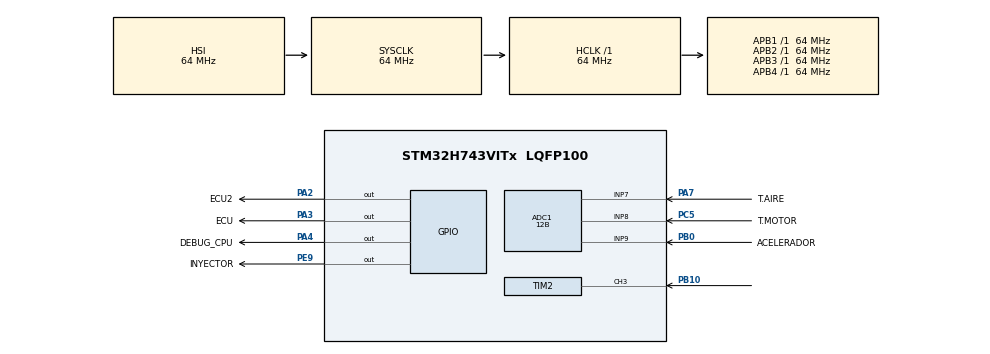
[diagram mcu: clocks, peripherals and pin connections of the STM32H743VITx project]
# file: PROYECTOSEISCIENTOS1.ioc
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ADC1.Channel-0\#ChannelRegularConversion=ADC_CHANNEL_7
ADC1.Channel-1\#ChannelRegularConversion=ADC_CHANNEL_8
ADC1.Channel-2\#ChannelRegularConversion=ADC_CHANNEL_9
ADC1.ContinuousConvMode=ENABLE
ADC1.ConversionDataManagement=ADC_CONVERSIONDATA_DMA_CIRCULAR
ADC1.NbrOfConversion=3
ADC1.NbrOfConversionFlag=1
ADC1.OffsetNumber-0\#ChannelRegularConversion=ADC_OFFSET_NONE
ADC1.OffsetNumber-1\#ChannelRegularConversion=ADC_OFFSET_NONE
ADC1.OffsetNumber-2\#ChannelRegularConversion=ADC_OFFSET_NONE
ADC1.OffsetSignedSaturation-0\#ChannelRegularConversion=DISABLE
ADC1.Rank-0\#ChannelRegularConversion=1
ADC1.Rank-1\#ChannelRegularConversion=2
ADC1.Rank-2\#ChannelRegularConversion=3
ADC1.Resolution=ADC_RESOLUTION_12B
ADC1.SamplingTime-0\#ChannelRegularConversion=ADC_SAMPLETIME_64CYCLES_5
ADC1.SamplingTime-1\#ChannelRegularConversion=ADC_SAMPLETIME_64CYCLES_5
ADC1.SamplingTime-2\#ChannelRegularConversion=ADC_SAMPLETIME_64CYCLES_5
ADC1.master=1
CORTEX_M7.default_mode_Activation=1
Dma.ADC1.0.Direction=DMA_PERIPH_TO_MEMORY
Dma.ADC1.0.EventEnable=DISABLE
Dma.ADC1.0.FIFOMode=DMA_FIFOMODE_DISABLE
Dma.ADC1.0.Instance=DMA1_Stream0
Dma.ADC1.0.MemDataAlignment=DMA_MDATAALIGN_HALFWORD
Dma.ADC1.0.MemInc=DMA_MINC_ENABLE
Dma.ADC1.0.Mode=DMA_CIRCULAR
Dma.ADC1.0.PeriphDataAlignment=DMA_PDATAALIGN_HALFWORD
Dma.ADC1.0.PeriphInc=DMA_PINC_DISABLE
Dma.ADC1.0.Polarity=HAL_DMAMUX_REQ_GEN_RISING
Dma.ADC1.0.Priority=DMA_PRIORITY_HIGH
Dma.ADC1.0.RequestNumber=1
Dma.ADC1.0.SignalID=NONE
Dma.ADC1.0.SyncEnable=DISABLE
Dma.ADC1.0.SyncPolarity=HAL_DMAMUX_SYNC_NO_EVENT
Dma.ADC1.0.SyncRequestNumber=1
Dma.ADC1.0.SyncSignalID=NONE
Dma.Request0=ADC1
Mcu.Family=STM32H7
Mcu.Name=STM32H743VITx
Mcu.Package=LQFP100
NVIC.DMA1_Stream0_IRQn=true\:0\:0\:false\:false\:true\:false\:true\:true
NVIC.PriorityGroup=NVIC_PRIORITYGROUP_4
NVIC.TIM2_IRQn=true\:0\:0\:false\:false\:true\:true\:true\:true
NVIC.TIM6_DAC_IRQn=true\:0\:0\:false\:false\:true\:true\:true\:true
PA0.GPIO_Label=ENTRADA RPM
PA0.Signal=S_TIM2_CH1_ETR
PA2.GPIO_Label=ECU2
PA2.Signal=GPIO_Output
PA3.GPIO_Label=ECU
PA3.Signal=GPIO_Output
PA4.GPIO_Label=DEBUG_CPU
PA4.Signal=GPIO_Output
PA7.GPIO_Label=T.AIRE
PA7.Signal=ADCx_INP7
PB0.GPIO_Label=ACELERADOR
PB0.Signal=ADCx_INP9
PB10.Signal=S_TIM2_CH3
PC14-OSC32_IN\ (OSC32_IN).Mode=LSE-External-Oscillator
PC14-OSC32_IN\ (OSC32_IN).Signal=RCC_OSC32_IN
PC15-OSC32_OUT\ (OSC32_OUT).Mode=LSE-External-Oscillator
PC15-OSC32_OUT\ (OSC32_OUT).Signal=RCC_OSC32_OUT
PC5.GPIO_Label=T.MOTOR
PC5.Signal=ADCx_INP8
PE9.GPIO_Label=INYECTOR
PE9.Signal=GPIO_Output
PH0-OSC_IN\ (PH0).Mode=HSE-External-Oscillator
PH0-OSC_IN\ (PH0).Signal=RCC_OSC_IN
PH1-OSC_OUT\ (PH1).Mode=HSE-External-Oscillator
PH1-OSC_OUT\ (PH1).Signal=RCC_OSC_OUT
ProjectManager.HeapSize=0x200
ProjectManager.StackSize=0x400
ProjectManager.TargetToolchain=STM32CubeIDE
RCC.ADCFreq_Value=80000000
RCC.APB1Freq_Value=64000000
RCC.APB2Freq_Value=64000000
RCC.APB3Freq_Value=64000000
RCC.APB4Freq_Value=64000000
RCC.CortexFreq_Value=64000000
RCC.DIVM2=4
RCC.DIVN2=10
RCC.HCLKFreq_Value=64000000
RCC.PLL2FRACN=0
RCC.SYSCLKFreq_VALUE=64000000
RCC.USBFreq_Value=129000000
SH.ADCx_INP7.0=ADC1_INP7,IN7-Single-Ended
SH.ADCx_INP8.0=ADC1_INP8,IN8-Single-Ended
SH.ADCx_INP9.0=ADC1_INP9,IN9-Single-Ended
SH.S_TIM2_CH1_ETR.0=TIM2_CH1
SH.S_TIM2_CH3.0=TIM2_CH3,Input_Capture3_from_TI3
TIM2.Channel-Input_Capture3_from_TI3=TIM_CHANNEL_3
TIM2.Period=0xFFFFFFFF
TIM2.Prescaler=63
TIM6.Period=99
TIM6.Prescaler=6399
VP_MEMORYMAP_VS_MEMORYMAP.Mode=CurAppReg
VP_TIM2_VS_ClockSourceINT.Mode=Internal
VP_TIM6_VS_ClockSourceINT.Mode=Enable_Timer
board=custom

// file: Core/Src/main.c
/* USER CODE BEGIN Header */
/**
  ******************************************************************************
  * @file           : main.c
  * @brief          : Main program body
  ******************************************************************************
  * @attention
  *
  * Copyright (c) 2026 STMicroelectronics.
  * All rights reserved.
  *
  * This software is licensed under terms that can be found in the LICENSE file
  * in the root directory of this software component.
  * If no LICENSE file comes with this software, it is provided AS-IS.
  *
  ******************************************************************************
  */
/* USER CODE END Header */
#include "main.h"

/* USER CODE BEGIN Includes */
#include "ecu/ecu.h"
#include "control/rpm.h"
/* USER CODE END Includes */

ADC_HandleTypeDef hadc1;
DMA_HandleTypeDef hdma_adc1;

TIM_HandleTypeDef htim2;
TIM_HandleTypeDef htim6;

/* USER CODE BEGIN PV */
extern volatile float dbg_temp_engine;
extern volatile float dbg_temp_air;
extern volatile uint16_t dbg_throttle;
extern volatile uint32_t dbg_rpm;
extern volatile uint16_t dbg_throttle_percent;
volatile uint16_t tiempo_base_pw = 0;

/* USER CODE END PV */

void SystemClock_Config(void);
static void MPU_Config(void);
static void MX_GPIO_Init(void);
static void MX_DMA_Init(void);
static void MX_ADC1_Init(void);
static void MX_TIM6_Init(void);
static void MX_TIM2_Init(void);

int main(void)
{

  /* MPU Configuration--------------------------------------------------------*/
  MPU_Config();

  /* MCU Configuration--------------------------------------------------------*/

  /* Reset of all peripherals, Initializes the Flash interface and the Systick. */
  HAL_Init();

  /* Configure the system clock */
  SystemClock_Config();

  /* Initialize all configured peripherals */
  MX_GPIO_Init();
  MX_DMA_Init();
  MX_ADC1_Init();
  MX_TIM6_Init();
  MX_TIM2_Init();
  /* USER CODE BEGIN 2 */
  ecu_init();
  HAL_TIM_Base_Start_IT(&htim6);
  HAL_TIM_IC_Start_IT(&htim2, TIM_CHANNEL_3);
  /* USER CODE END 2 */

  /* Infinite loop */
  while (1)
  {

    /* USER CODE BEGIN 3 */
	  if(ecu_tick)
	  {
	      ecu_tick = 0;
	      ecu_loop();
	  }

  }
  /* USER CODE END 3 */
}

void SystemClock_Config(void)
{
  RCC_OscInitTypeDef RCC_OscInitStruct = {0};
  RCC_ClkInitTypeDef RCC_ClkInitStruct = {0};

  /** Supply configuration update enable
  */
  HAL_PWREx_ConfigSupply(PWR_LDO_SUPPLY);

  /** Configure the main internal regulator output voltage
  */
  __HAL_PWR_VOLTAGESCALING_CONFIG(PWR_REGULATOR_VOLTAGE_SCALE3);

  while(!__HAL_PWR_GET_FLAG(PWR_FLAG_VOSRDY)) {}

  /** Macro to configure the PLL clock source
  */
  __HAL_RCC_PLL_PLLSOURCE_CONFIG(RCC_PLLSOURCE_HSI);

  /** Initializes the RCC Oscillators according to the specified parameters
  * in the RCC_OscInitTypeDef structure.
  */
  RCC_OscInitStruct.OscillatorType = RCC_OSCILLATORTYPE_HSI;
  RCC_OscInitStruct.HSIState = RCC_HSI_DIV1;
  RCC_OscInitStruct.HSICalibrationValue = RCC_HSICALIBRATION_DEFAULT;
  RCC_OscInitStruct.PLL.PLLState = RCC_PLL_NONE;
  if (HAL_RCC_OscConfig(&RCC_OscInitStruct) != HAL_OK)
  {
    Error_Handler();
  }

  /** Initializes the CPU, AHB and APB buses clocks
  */
  RCC_ClkInitStruct.ClockType = RCC_CLOCKTYPE_HCLK|RCC_CLOCKTYPE_SYSCLK
                              |RCC_CLOCKTYPE_PCLK1|RCC_CLOCKTYPE_PCLK2
                              |RCC_CLOCKTYPE_D3PCLK1|RCC_CLOCKTYPE_D1PCLK1;
  RCC_ClkInitStruct.SYSCLKSource = RCC_SYSCLKSOURCE_HSI;
  RCC_ClkInitStruct.SYSCLKDivider = RCC_SYSCLK_DIV1;
  RCC_ClkInitStruct.AHBCLKDivider = RCC_HCLK_DIV1;
  RCC_ClkInitStruct.APB3CLKDivider = RCC_APB3_DIV1;
  RCC_ClkInitStruct.APB1CLKDivider = RCC_APB1_DIV1;
  RCC_ClkInitStruct.APB2CLKDivider = RCC_APB2_DIV1;
  RCC_ClkInitStruct.APB4CLKDivider = RCC_APB4_DIV1;

  if (HAL_RCC_ClockConfig(&RCC_ClkInitStruct, FLASH_LATENCY_1) != HAL_OK)
  {
    Error_Handler();
  }
}

static void MX_ADC1_Init(void)
{

  ADC_MultiModeTypeDef multimode = {0};
  ADC_ChannelConfTypeDef sConfig = {0};

  /** Common config
  */
  hadc1.Instance = ADC1;
  hadc1.Init.ClockPrescaler = ADC_CLOCK_ASYNC_DIV2;
  hadc1.Init.Resolution = ADC_RESOLUTION_12B;
  hadc1.Init.ScanConvMode = ADC_SCAN_ENABLE;
  hadc1.Init.EOCSelection = ADC_EOC_SINGLE_CONV;
  hadc1.Init.LowPowerAutoWait = DISABLE;
  hadc1.Init.ContinuousConvMode = ENABLE;
  hadc1.Init.NbrOfConversion = 3;
  hadc1.Init.DiscontinuousConvMode = DISABLE;
  hadc1.Init.ExternalTrigConv = ADC_SOFTWARE_START;
  hadc1.Init.ExternalTrigConvEdge = ADC_EXTERNALTRIGCONVEDGE_NONE;
  hadc1.Init.ConversionDataManagement = ADC_CONVERSIONDATA_DMA_CIRCULAR;
  hadc1.Init.Overrun = ADC_OVR_DATA_PRESERVED;
  hadc1.Init.LeftBitShift = ADC_LEFTBITSHIFT_NONE;
  hadc1.Init.OversamplingMode = DISABLE;
  hadc1.Init.Oversampling.Ratio = 1;
  if (HAL_ADC_Init(&hadc1) != HAL_OK)
  {
    Error_Handler();
  }

  /** Configure the ADC multi-mode
  */
  multimode.Mode = ADC_MODE_INDEPENDENT;
  if (HAL_ADCEx_MultiModeConfigChannel(&hadc1, &multimode) != HAL_OK)
  {
    Error_Handler();
  }

  /** Configure Regular Channel
  */
  sConfig.Channel = ADC_CHANNEL_7;
  sConfig.Rank = ADC_REGULAR_RANK_1;
  sConfig.SamplingTime = ADC_SAMPLETIME_64CYCLES_5;
  sConfig.SingleDiff = ADC_SINGLE_ENDED;
  sConfig.OffsetNumber = ADC_OFFSET_NONE;
  sConfig.Offset = 0;
  sConfig.OffsetSignedSaturation = DISABLE;
  if (HAL_ADC_ConfigChannel(&hadc1, &sConfig) != HAL_OK)
  {
    Error_Handler();
  }

  /** Configure Regular Channel
  */
  sConfig.Channel = ADC_CHANNEL_8;
  sConfig.Rank = ADC_REGULAR_RANK_2;
  if (HAL_ADC_ConfigChannel(&hadc1, &sConfig) != HAL_OK)
  {
    Error_Handler();
  }

  /** Configure Regular Channel
  */
  sConfig.Channel = ADC_CHANNEL_9;
  sConfig.Rank = ADC_REGULAR_RANK_3;
  if (HAL_ADC_ConfigChannel(&hadc1, &sConfig) != HAL_OK)
  {
    Error_Handler();
  }

}

static void MX_TIM2_Init(void)
{

  TIM_ClockConfigTypeDef sClockSourceConfig = {0};
  TIM_MasterConfigTypeDef sMasterConfig = {0};
  TIM_IC_InitTypeDef sConfigIC = {0};

  htim2.Instance = TIM2;
  htim2.Init.Prescaler = 63;
  htim2.Init.CounterMode = TIM_COUNTERMODE_UP;
  htim2.Init.Period = 0xFFFFFFFF;
  htim2.Init.ClockDivision = TIM_CLOCKDIVISION_DIV1;
  htim2.Init.AutoReloadPreload = TIM_AUTORELOAD_PRELOAD_DISABLE;
  if (HAL_TIM_Base_Init(&htim2) != HAL_OK)
  {
    Error_Handler();
  }
  sClockSourceConfig.ClockSource = TIM_CLOCKSOURCE_INTERNAL;
  if (HAL_TIM_ConfigClockSource(&htim2, &sClockSourceConfig) != HAL_OK)
  {
    Error_Handler();
  }
  if (HAL_TIM_IC_Init(&htim2) != HAL_OK)
  {
    Error_Handler();
  }
  sMasterConfig.MasterOutputTrigger = TIM_TRGO_RESET;
  sMasterConfig.MasterSlaveMode = TIM_MASTERSLAVEMODE_DISABLE;
  if (HAL_TIMEx_MasterConfigSynchronization(&htim2, &sMasterConfig) != HAL_OK)
  {
    Error_Handler();
  }
  sConfigIC.ICPolarity = TIM_INPUTCHANNELPOLARITY_RISING;
  sConfigIC.ICSelection = TIM_ICSELECTION_DIRECTTI;
  sConfigIC.ICPrescaler = TIM_ICPSC_DIV1;
  sConfigIC.ICFilter = 0;
  if (HAL_TIM_IC_ConfigChannel(&htim2, &sConfigIC, TIM_CHANNEL_3) != HAL_OK)
  {
    Error_Handler();
  }

}

static void MX_TIM6_Init(void)
{

  TIM_MasterConfigTypeDef sMasterConfig = {0};

  htim6.Instance = TIM6;
  htim6.Init.Prescaler = 6399;
  htim6.Init.CounterMode = TIM_COUNTERMODE_UP;
  htim6.Init.Period = 99;
  htim6.Init.AutoReloadPreload = TIM_AUTORELOAD_PRELOAD_DISABLE;
  if (HAL_TIM_Base_Init(&htim6) != HAL_OK)
  {
    Error_Handler();
  }
  sMasterConfig.MasterOutputTrigger = TIM_TRGO_RESET;
  sMasterConfig.MasterSlaveMode = TIM_MASTERSLAVEMODE_DISABLE;
  if (HAL_TIMEx_MasterConfigSynchronization(&htim6, &sMasterConfig) != HAL_OK)
  {
    Error_Handler();
  }

}

static void MX_DMA_Init(void)
{

  /* DMA controller clock enable */
  __HAL_RCC_DMA1_CLK_ENABLE();

  /* DMA interrupt init */
  /* DMA1_Stream0_IRQn interrupt configuration */
  HAL_NVIC_SetPriority(DMA1_Stream0_IRQn, 0, 0);
  HAL_NVIC_EnableIRQ(DMA1_Stream0_IRQn);

}

static void MX_GPIO_Init(void)
{
  GPIO_InitTypeDef GPIO_InitStruct = {0};

  /* GPIO Ports Clock Enable */
  __HAL_RCC_GPIOC_CLK_ENABLE();
  __HAL_RCC_GPIOH_CLK_ENABLE();
  __HAL_RCC_GPIOA_CLK_ENABLE();
  __HAL_RCC_GPIOB_CLK_ENABLE();
  __HAL_RCC_GPIOE_CLK_ENABLE();

  /*Configure GPIO pin Output Level */
  HAL_GPIO_WritePin(GPIOA, ECU2_Pin|ECU_Pin|DEBUG_CPU_Pin, GPIO_PIN_RESET);

  /*Configure GPIO pin Output Level */
  HAL_GPIO_WritePin(INYECTOR_GPIO_Port, INYECTOR_Pin, GPIO_PIN_RESET);

  /*Configure GPIO pins : ECU2_Pin ECU_Pin DEBUG_CPU_Pin */
  GPIO_InitStruct.Pin = ECU2_Pin|ECU_Pin|DEBUG_CPU_Pin;
  GPIO_InitStruct.Mode = GPIO_MODE_OUTPUT_PP;
  GPIO_InitStruct.Pull = GPIO_NOPULL;
  GPIO_InitStruct.Speed = GPIO_SPEED_FREQ_LOW;
  HAL_GPIO_Init(GPIOA, &GPIO_InitStruct);

  /*Configure GPIO pin : INYECTOR_Pin */
  GPIO_InitStruct.Pin = INYECTOR_Pin;
  GPIO_InitStruct.Mode = GPIO_MODE_OUTPUT_PP;
  GPIO_InitStruct.Pull = GPIO_NOPULL;
  GPIO_InitStruct.Speed = GPIO_SPEED_FREQ_LOW;
  HAL_GPIO_Init(INYECTOR_GPIO_Port, &GPIO_InitStruct);

}

/* USER CODE BEGIN 4 */

void HAL_TIM_PeriodElapsedCallback(TIM_HandleTypeDef *htim)
{

	if(htim->Instance == TIM6)
	    {
	        ecu_tick = 1;
	    }

    }

void HAL_TIM_IC_CaptureCallback(TIM_HandleTypeDef *htim)
{
    if(htim->Instance == TIM2)
    {
        uint32_t capture;

        capture = HAL_TIM_ReadCapturedValue(htim, TIM_CHANNEL_3);

        rpm_capture_callback(capture);
    }
}

/* USER CODE END 4 */

 /* MPU Configuration */

void MPU_Config(void)
{
  MPU_Region_InitTypeDef MPU_InitStruct = {0};

  /* Disables the MPU */
  HAL_MPU_Disable();

  /** Initializes and configures the Region and the memory to be protected
  */
  MPU_InitStruct.Enable = MPU_REGION_ENABLE;
  MPU_InitStruct.Number = MPU_REGION_NUMBER0;
  MPU_InitStruct.BaseAddress = 0x0;
  MPU_InitStruct.Size = MPU_REGION_SIZE_4GB;
  MPU_InitStruct.SubRegionDisable = 0x87;
  MPU_InitStruct.TypeExtField = MPU_TEX_LEVEL0;
  MPU_InitStruct.AccessPermission = MPU_REGION_NO_ACCESS;
  MPU_InitStruct.DisableExec = MPU_INSTRUCTION_ACCESS_DISABLE;
  MPU_InitStruct.IsShareable = MPU_ACCESS_SHAREABLE;
  MPU_InitStruct.IsCacheable = MPU_ACCESS_NOT_CACHEABLE;
  MPU_InitStruct.IsBufferable = MPU_ACCESS_NOT_BUFFERABLE;

  HAL_MPU_ConfigRegion(&MPU_InitStruct);
  /* Enables the MPU */
  HAL_MPU_Enable(MPU_PRIVILEGED_DEFAULT);

}

void Error_Handler(void)
{
  __disable_irq();
  while (1)
  {
  }
}
